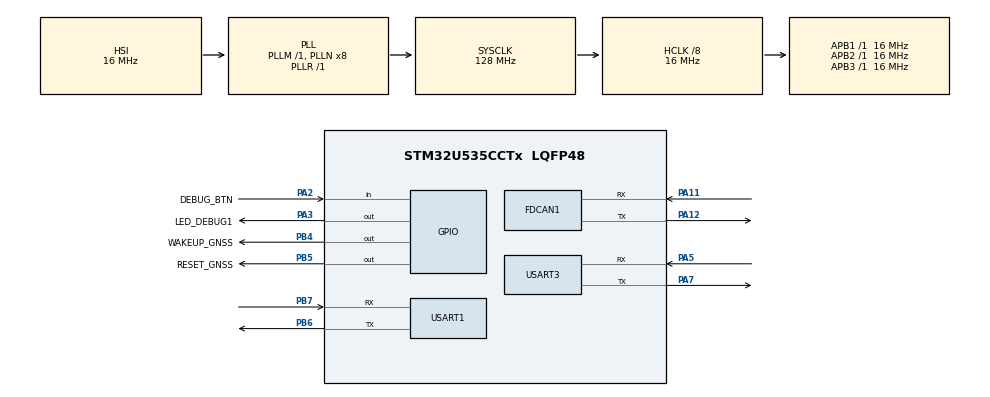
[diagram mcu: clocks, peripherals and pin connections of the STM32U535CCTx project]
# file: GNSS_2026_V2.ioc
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CORTEX_M33_NS.userName=CORTEX_M33
FDCAN1.AutoRetransmission=ENABLE
FDCAN1.CalculateBaudRateNominal=500000
FDCAN1.CalculateTimeBitNominal=2000
FDCAN1.CalculateTimeQuantumNominal=125.0
FDCAN1.NominalPrescaler=8
FDCAN1.NominalTimeSeg1=13
FDCAN1.NominalTimeSeg2=2
FDCAN1.StdFiltersNbr=1
Mcu.Family=STM32U5
Mcu.Name=STM32U535CCTx
Mcu.Package=LQFP48
NVIC.FDCAN1_IT0_IRQn=true\:0\:0\:false\:false\:true\:true\:true\:true
NVIC.FDCAN1_IT1_IRQn=true\:0\:0\:false\:false\:true\:true\:true\:true
NVIC.PriorityGroup=NVIC_PRIORITYGROUP_4
NVIC.TIM3_IRQn=true\:0\:0\:false\:false\:true\:true\:true\:true
NVIC.TIM6_IRQn=true\:0\:0\:false\:false\:true\:true\:true\:true
NVIC.USART1_IRQn=true\:0\:0\:false\:false\:true\:true\:true\:true
PA11.Mode=FDCAN_Activate
PA11.Signal=FDCAN1_RX
PA12.Mode=FDCAN_Activate
PA12.Signal=FDCAN1_TX
PA13\ (JTMS/SWDIO).Mode=Serial_Wire
PA13\ (JTMS/SWDIO).Signal=DEBUG_JTMS-SWDIO
PA14\ (JTCK/SWCLK).Mode=Serial_Wire
PA14\ (JTCK/SWCLK).Signal=DEBUG_JTCK-SWCLK
PA2.GPIO_Label=DEBUG_BTN
PA2.Signal=GPIO_Input
PA3.GPIO_Label=LED_DEBUG1
PA3.Signal=GPIO_Output
PA5.Mode=Asynchronous
PA5.Signal=USART3_RX
PA7.Mode=Asynchronous
PA7.Signal=USART3_TX
PB4\ (NJTRST).GPIO_Label=WAKEUP_GNSS
PB4\ (NJTRST).PinState=GPIO_PIN_SET
PB4\ (NJTRST).Signal=GPIO_Output
PB5.GPIO_Label=RESET_GNSS
PB5.PinState=GPIO_PIN_SET
PB5.Signal=GPIO_Output
PB6.Mode=Asynchronous
PB6.Signal=USART1_TX
PB7.Mode=Asynchronous
PB7.Signal=USART1_RX
ProjectManager.HeapSize=0x200
ProjectManager.StackSize=0x400
ProjectManager.TargetToolchain=STM32CubeIDE
RCC.ADCFreq_Value=16000000
RCC.AHBCLKDivider=RCC_SYSCLK_DIV8
RCC.AHBFreq_Value=16000000
RCC.APB1Freq_Value=16000000
RCC.APB1TimFreq_Value=16000000
RCC.APB2Freq_Value=16000000
RCC.APB2TimFreq_Value=16000000
RCC.APB3Freq_Value=16000000
RCC.CortexFreq_Value=16000000
RCC.DACCLockSelectionVirtual=RCC_DAC1CLKSOURCE_LSI
RCC.DACCLockSelectionVirtualString=RCC_DAC1CLKSOURCE_LSI
RCC.EPOD_VALUE=16000000
RCC.HCLKFreq_Value=16000000
RCC.HSE_VALUE=16000000
RCC.HSI48_VALUE=48000000
RCC.HSI_VALUE=16000000
RCC.LSE_VALUE=32768
RCC.LSIDIV_VALUE=32000
RCC.MSI_VALUE=4000000
RCC.PLL1R=1
RCC.PLLN=8
RCC.PLLSourceVirtual=RCC_PLLSOURCE_HSI
RCC.SYSCLKFreq_VALUE=128000000
RCC.SYSCLKSource=RCC_SYSCLKSOURCE_PLLCLK
RCC.USBFreq_Value=48000000
RCC.VCOOutputFreq_Value=128000000
TIM3.PeriodNoDither=1787
TIM3.Prescaler=1787
TIM6.PeriodNoDither=7999
TIM6.Prescaler=3999
USART1.VirtualMode-Asynchronous=VM_ASYNC
USART3.VirtualMode-Asynchronous=VM_ASYNC
VP_ICACHE_VS_ICACHE.Mode=DefaultMode
VP_LPBAMQUEUE_VS_QUEUE.Mode=QUEUEMODE
VP_LPBAM_VS_SIG1.Mode=SmartRun
VP_LPBAM_VS_SIG4.Mode=LPDMA1
VP_MEMORYMAP_VS_MEMORYMAP.Mode=CurAppReg
VP_PWR_VS_SECSignals.Mode=Security/Privilege
VP_TIM3_VS_ClockSourceINT.Mode=Internal
VP_TIM6_VS_ClockSourceINT.Mode=Enable_Timer
board=custom

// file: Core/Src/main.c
/* USER CODE BEGIN Header */
/**
 ******************************************************************************
 * @file           : main.c
 * @brief          : Main program body
 ******************************************************************************
 * @attention
 *
 * Copyright (c) 2026 STMicroelectronics.
 * All rights reserved.
 *
 * This software is licensed under terms that can be found in the LICENSE file
 * in the root directory of this software component.
 * If no LICENSE file comes with this software, it is provided AS-IS.
 *
 ******************************************************************************
 */
/* USER CODE END Header */
#include "main.h"

/* USER CODE BEGIN PD */
#define TX_TIMEOUT 500

#define FDCAN_FILTER_ID1 0x000
#define FDCAN_FILTER_ID2 0x7FF

/* USER CODE END PD */

FDCAN_HandleTypeDef hfdcan1;

TIM_HandleTypeDef htim3;
TIM_HandleTypeDef htim6;

UART_HandleTypeDef huart1;
UART_HandleTypeDef huart3;

/* USER CODE BEGIN PV */
FDCAN_TxHeaderTypeDef TxHeader;
FDCAN_FilterTypeDef sFilterConfig;
uint8_t TxData[8] = { 0 };

void FDCAN_Restart() {
	if (HAL_FDCAN_Stop(&hfdcan1) != HAL_OK) {
	}
	if (HAL_FDCAN_Start(&hfdcan1) != HAL_OK) {
	}
}

HAL_StatusTypeDef FDCAN_SendMessage(uint32_t id, uint8_t *TxData) {
	TxHeader.Identifier = id;
	HAL_StatusTypeDef status = HAL_FDCAN_AddMessageToTxFifoQ(&hfdcan1,
			&TxHeader, TxData);
	if (status != HAL_OK) {
		FDCAN_Restart();
	}
	HAL_Delay(5);
	return status;
}

/* USER CODE END PV */

void SystemClock_Config(void);
static void MX_GPIO_Init(void);
static void MX_FDCAN1_Init(void);
static void MX_ICACHE_Init(void);
static void MX_USART3_UART_Init(void);
static void MX_TIM3_Init(void);
static void MX_TIM6_Init(void);
static void MX_USART1_UART_Init(void);

/* USER CODE BEGIN 0 */
/* USER CODE BEGIN 0 */
uint8_t rx_buff[MAX_NMEA_LEN];

// inicializa a estrutura que salva os dados do gnss
gnss_data_t gnss_data;

// inicializa maquina de estados
system_state_t system_state = STATE_IDLE;

// flags para ISR
uint8_t isTeseoReset = 0;

/* USER CODE END 0 */

int main(void)
{

  /* MCU Configuration--------------------------------------------------------*/

  /* Reset of all peripherals, Initializes the Flash interface and the Systick. */
  HAL_Init();

  /* Configure the system clock */
  SystemClock_Config();

  /* Initialize all configured peripherals */
  MX_GPIO_Init();
  MX_FDCAN1_Init();
  MX_ICACHE_Init();
  MX_USART3_UART_Init();
  MX_TIM3_Init();
  MX_TIM6_Init();
  MX_USART1_UART_Init();
  /* USER CODE BEGIN 2 */
	// set wakeup and reset pins as HIGH
	HAL_GPIO_WritePin(RESET_GNSS_GPIO_Port, RESET_GNSS_Pin, GPIO_PIN_SET);
	HAL_GPIO_WritePin(WAKEUP_GNSS_GPIO_Port, WAKEUP_GNSS_Pin, GPIO_PIN_SET);

	HAL_UART_Receive_IT(&huart1, rx_buff, MAX_NMEA_LEN);
	print_init(&huart3);

//	uint8_t change_baud[MAX_NMEA_LEN] = "$PSTMSETPAR,3102,0xA*12\r\n";
//	uint8_t change_sample_rate[MAX_NMEA_LEN] = "$PSTMSETPAR,1303,0.2*36\r\n";
//	uint8_t save_par[MAX_NMEA_LEN] = "$PSTMSAVEPAR*58\r\n";
//	uint8_t reset[MAX_NMEA_LEN] = "$PSTMSRR*49\r\n";
//	HAL_UART_Transmit(&huart1, change_sample_rate, MAX_NMEA_LEN, 1000);
//	HAL_UART_Transmit(&huart1, save_par, MAX_NMEA_LEN, 1000);
//	HAL_UART_Transmit(&huart1, reset, MAX_NMEA_LEN, 1000);

//	HAL_UART_Transmit(&huart1, change_baud, MAX_NMEA_LEN, 1000);
//	HAL_UART_Transmit(&huart1, save_par, MAX_NMEA_LEN, 1000);
//	HAL_UART_Transmit(&huart1, reset, MAX_NMEA_LEN, 1000);

  /* USER CODE END 2 */

  /* Infinite loop */
  /* USER CODE BEGIN WHILE */
	HAL_TIM_Base_Start_IT(&htim3);
	HAL_TIM_Base_Start_IT(&htim6);
	int counter = 0;

	init(&gnss_data);

	while (1) {
		counter++;

		if(isTeseoReset == 1) {
			HAL_Delay(50);
			HAL_GPIO_WritePin(RESET_GNSS_GPIO_Port, RESET_GNSS_Pin, GPIO_PIN_SET);
			isTeseoReset = 0;
		}

		switch (system_state) {

		case STATE_RECEIVE_UART: {
//			print_message(rx_buff);
//			print_message("Started \r\n");

			// novos dados chegaram no DMA
			// identifica os inicios e fins das mensagens
			const uint8_t MAX_NUMBER_OF_SENTENCES = 20;
			int16_t list_of_start_idxs[MAX_NUMBER_OF_SENTENCES];
			int16_t list_of_end_idxs[MAX_NUMBER_OF_SENTENCES];

			// inicializa com -1
			for (int k = 0; k < MAX_NUMBER_OF_SENTENCES; ++k) {
				list_of_start_idxs[k] = -1;
				list_of_end_idxs[k] = -1;
			}

			// varre o buffer inteiro e vai salvandos os inicios e fins
			uint8_t sentence_idx = 0;
			for (int k = 0; k < MAX_NMEA_LEN; ++k) {
				if (sentence_idx >= MAX_NUMBER_OF_SENTENCES) {
					break;
				}

				if (rx_buff[k] == '$') {
					list_of_start_idxs[sentence_idx] = k;
					sentence_idx++;
				}

				if (rx_buff[k] == '\n' && sentence_idx > 0
						&& list_of_start_idxs[sentence_idx - 1] != -1) {
					// so pega o final se comecou a sentenca antes
					list_of_end_idxs[sentence_idx - 1] = k;
				}
			}

//			print_message("inicios e fins salvos \r\n");

			// verifica se esta igual o numero de start e end
			uint8_t checked_started = 0, checked_end = 0;
			for (int k = 0; k < MAX_NUMBER_OF_SENTENCES; ++k) {
				if (list_of_start_idxs[k] != -1) {
					checked_started++;
				}
				if (list_of_end_idxs[k] != -1) {
					checked_end++;
				}
			}

			if (checked_started < checked_end) {
				// falha na separação das sentenças. break na FSM e descarta esse buffer
				change_state(&system_state, STATE_IDLE);
				break;
			}

			checked_started = checked_end; // ignora as que comecou sem terminar

//			print_message("start %u == end %u \r\n", checked_started, checked_end);

			if (checked_started == 0 || checked_end == 0) {
				// sem sentencas NMEA. descarta
				change_state(&system_state, STATE_IDLE);
				break;
			}

//			print_message("sentenças separadas \r\n");

			// para cada sentenca, parseia
			for (int k = 0; k < checked_started; ++k) {
				int16_t start_idx = list_of_start_idxs[k];
				int16_t end_idx = list_of_end_idxs[k];

				if (start_idx >= end_idx) {
					// vai para a proxima sentenca, ignora essa
					continue;
				}

				if (start_idx >= MAX_NMEA_LEN || end_idx >= MAX_NMEA_LEN) {
					// vai para a proxima sentenca, ignora essa
					continue;
				}

				// index de inicio e fim determinados. salva no nmea_sentence
				uint8_t sentence_size = end_idx - start_idx + 1; // inclui o \n
				char *nmea_sentence = (char*) malloc(
						sentence_size * sizeof(char));

				int16_t nmea_sentence_idx = 0;
				for (int16_t k = start_idx; k <= end_idx; ++k) {
					nmea_sentence[nmea_sentence_idx] = rx_buff[k];
					nmea_sentence_idx++;
				}

				// nmea_sentence agora contem uma sentença nmea. joga para os parsers
				NMEA_Type nmea_type = NMEA_UNKNOWN;

				if (classify_nmea(&nmea_type, nmea_sentence) != NO_ERROR) {
					continue; // falha na classificacao: vai para a proxima
				}

				switch (nmea_type) {
				case NMEA_GPGGA: {
					if (parse_gpgga(&gnss_data, nmea_sentence) != NO_ERROR) {
						continue; // falha no parse: vai para a proxima
					}
					break;
				}

				case NMEA_GPRMC: {
					if (parse_gprmc(&gnss_data, nmea_sentence) != NO_ERROR) {
						continue; // falha no parse: vai para a proxima
					}
					break;
				}
				case NMEA_UNKNOWN:
					break;
				}

				free(nmea_sentence);
				nmea_sentence = NULL;
			}

			// finalizei o parse do buffer
			change_state(&system_state, STATE_IDLE);

//			print_message("Finished \r\n");
			break;

		}

		case STATE_SEND_UART: {
			// timer disparou: faz o envio
			char uart_output_message[MAX_NMEA_LEN] = { '\0' };
			if (save_to_message(&gnss_data, uart_output_message, MAX_NMEA_LEN)
					!= NO_ERROR) {
				continue; // messaging failed
			}

			print_message(uart_output_message);
//
//			print_message(rx_buff);

			// formata os dados para a CAN
			uint8_t lat_buf[8];
			save_lat_to_buffer(&gnss_data, lat_buf);

			uint8_t lon_buf[8];
			save_lon_to_buffer(&gnss_data, lon_buf);

			uint8_t utc_buf[8]; // gets unix timestamp in miliseconds
			save_utc_to_buffer(&gnss_data, utc_buf);

			uint8_t general_buf[8];
			save_general_to_buffer(&gnss_data, general_buf);

			// envia para a CAN
			FDCAN_SendMessage(LATITUDE_CAN_ID, lat_buf);
			FDCAN_SendMessage(LONGITUDE_CAN_ID, lon_buf);
			FDCAN_SendMessage(UTC_CAN_ID, utc_buf);
			FDCAN_SendMessage(GENERAL_GNSS_CAN_ID, general_buf);

			change_state(&system_state, STATE_IDLE);

			break;
		}
		case STATE_IDLE:
		default: {
			break;
		}
		}
//		for (uint8_t k = 1; k < 60; ++k) {
//			uint8_t can_tx_data[8] = { k, k, k, k, k, k, k, k };
//			FDCAN_SendMessage(262, can_tx_data);
//			HAL_Delay(5);
//		}
//
//		HAL_Delay(5);
    /* USER CODE END WHILE */

	}
}

void SystemClock_Config(void)
{
  RCC_OscInitTypeDef RCC_OscInitStruct = {0};
  RCC_ClkInitTypeDef RCC_ClkInitStruct = {0};

  /** Configure the main internal regulator output voltage
  */
  if (HAL_PWREx_ControlVoltageScaling(PWR_REGULATOR_VOLTAGE_SCALE1) != HAL_OK)
  {
    Error_Handler();
  }

  /** Initializes the CPU, AHB and APB buses clocks
  */
  RCC_OscInitStruct.OscillatorType = RCC_OSCILLATORTYPE_HSI;
  RCC_OscInitStruct.HSIState = RCC_HSI_ON;
  RCC_OscInitStruct.HSICalibrationValue = RCC_HSICALIBRATION_DEFAULT;
  RCC_OscInitStruct.PLL.PLLState = RCC_PLL_ON;
  RCC_OscInitStruct.PLL.PLLSource = RCC_PLLSOURCE_HSI;
  RCC_OscInitStruct.PLL.PLLMBOOST = RCC_PLLMBOOST_DIV1;
  RCC_OscInitStruct.PLL.PLLM = 1;
  RCC_OscInitStruct.PLL.PLLN = 8;
  RCC_OscInitStruct.PLL.PLLP = 2;
  RCC_OscInitStruct.PLL.PLLQ = 2;
  RCC_OscInitStruct.PLL.PLLR = 1;
  RCC_OscInitStruct.PLL.PLLRGE = RCC_PLLVCIRANGE_1;
  RCC_OscInitStruct.PLL.PLLFRACN = 0;
  if (HAL_RCC_OscConfig(&RCC_OscInitStruct) != HAL_OK)
  {
    Error_Handler();
  }

  /** Initializes the CPU, AHB and APB buses clocks
  */
  RCC_ClkInitStruct.ClockType = RCC_CLOCKTYPE_HCLK|RCC_CLOCKTYPE_SYSCLK
                              |RCC_CLOCKTYPE_PCLK1|RCC_CLOCKTYPE_PCLK2
                              |RCC_CLOCKTYPE_PCLK3;
  RCC_ClkInitStruct.SYSCLKSource = RCC_SYSCLKSOURCE_PLLCLK;
  RCC_ClkInitStruct.AHBCLKDivider = RCC_SYSCLK_DIV8;
  RCC_ClkInitStruct.APB1CLKDivider = RCC_HCLK_DIV1;
  RCC_ClkInitStruct.APB2CLKDivider = RCC_HCLK_DIV1;
  RCC_ClkInitStruct.APB3CLKDivider = RCC_HCLK_DIV1;

  if (HAL_RCC_ClockConfig(&RCC_ClkInitStruct, FLASH_LATENCY_0) != HAL_OK)
  {
    Error_Handler();
  }
}

static void MX_FDCAN1_Init(void)
{

  hfdcan1.Instance = FDCAN1;
  hfdcan1.Init.ClockDivider = FDCAN_CLOCK_DIV1;
  hfdcan1.Init.FrameFormat = FDCAN_FRAME_CLASSIC;
  hfdcan1.Init.Mode = FDCAN_MODE_NORMAL;
  hfdcan1.Init.AutoRetransmission = ENABLE;
  hfdcan1.Init.TransmitPause = DISABLE;
  hfdcan1.Init.ProtocolException = DISABLE;
  hfdcan1.Init.NominalPrescaler = 8;
  hfdcan1.Init.NominalSyncJumpWidth = 1;
  hfdcan1.Init.NominalTimeSeg1 = 13;
  hfdcan1.Init.NominalTimeSeg2 = 2;
  hfdcan1.Init.DataPrescaler = 1;
  hfdcan1.Init.DataSyncJumpWidth = 1;
  hfdcan1.Init.DataTimeSeg1 = 1;
  hfdcan1.Init.DataTimeSeg2 = 1;
  hfdcan1.Init.StdFiltersNbr = 1;
  hfdcan1.Init.ExtFiltersNbr = 0;
  hfdcan1.Init.TxFifoQueueMode = FDCAN_TX_FIFO_OPERATION;
  if (HAL_FDCAN_Init(&hfdcan1) != HAL_OK)
  {
    Error_Handler();
  }
  /* USER CODE BEGIN FDCAN1_Init 2 */
	sFilterConfig.IdType = FDCAN_STANDARD_ID;
	sFilterConfig.FilterIndex = 0;
	sFilterConfig.FilterType = FDCAN_FILTER_MASK;
	sFilterConfig.FilterConfig = FDCAN_FILTER_TO_RXFIFO0;
	sFilterConfig.FilterID1 = FDCAN_FILTER_ID1;
	sFilterConfig.FilterID2 = FDCAN_FILTER_ID2;

	if (HAL_FDCAN_ConfigFilter(&hfdcan1, &sFilterConfig) != HAL_OK) {
		Error_Handler();
	}

	if (HAL_FDCAN_ActivateNotification(&hfdcan1, FDCAN_IT_RX_FIFO0_NEW_MESSAGE,
			0) != HAL_OK) {
		Error_Handler();
	}

	if (HAL_FDCAN_Start(&hfdcan1) != HAL_OK) {
		Error_Handler();
	}

	HAL_NVIC_SetPriority(FDCAN1_IT0_IRQn, 0, 0);
	HAL_NVIC_EnableIRQ(FDCAN1_IT0_IRQn);
	HAL_NVIC_SetPriority(FDCAN1_IT1_IRQn, 0, 0);
	HAL_NVIC_EnableIRQ(FDCAN1_IT1_IRQn);

	TxHeader.Identifier = 0x000;
	TxHeader.IdType = FDCAN_STANDARD_ID;
	TxHeader.TxFrameType = FDCAN_DATA_FRAME;
	TxHeader.DataLength = FDCAN_DLC_BYTES_8;
	TxHeader.ErrorStateIndicator = FDCAN_ESI_ACTIVE;
	TxHeader.BitRateSwitch = FDCAN_BRS_OFF;
	TxHeader.FDFormat = FDCAN_CLASSIC_CAN;
	TxHeader.TxEventFifoControl = FDCAN_NO_TX_EVENTS;
	TxHeader.MessageMarker = 0;

  /* USER CODE END FDCAN1_Init 2 */

}

static void MX_ICACHE_Init(void)
{

  /** Enable instruction cache (default 2-ways set associative cache)
  */
  if (HAL_ICACHE_Enable() != HAL_OK)
  {
    Error_Handler();
  }

}

static void MX_TIM3_Init(void)
{

  TIM_ClockConfigTypeDef sClockSourceConfig = {0};
  TIM_MasterConfigTypeDef sMasterConfig = {0};

  htim3.Instance = TIM3;
  htim3.Init.Prescaler = 1787;
  htim3.Init.CounterMode = TIM_COUNTERMODE_UP;
  htim3.Init.Period = 1787;
  htim3.Init.ClockDivision = TIM_CLOCKDIVISION_DIV1;
  htim3.Init.AutoReloadPreload = TIM_AUTORELOAD_PRELOAD_DISABLE;
  if (HAL_TIM_Base_Init(&htim3) != HAL_OK)
  {
    Error_Handler();
  }
  sClockSourceConfig.ClockSource = TIM_CLOCKSOURCE_INTERNAL;
  if (HAL_TIM_ConfigClockSource(&htim3, &sClockSourceConfig) != HAL_OK)
  {
    Error_Handler();
  }
  sMasterConfig.MasterOutputTrigger = TIM_TRGO_RESET;
  sMasterConfig.MasterSlaveMode = TIM_MASTERSLAVEMODE_DISABLE;
  if (HAL_TIMEx_MasterConfigSynchronization(&htim3, &sMasterConfig) != HAL_OK)
  {
    Error_Handler();
  }

}

static void MX_TIM6_Init(void)
{

  TIM_MasterConfigTypeDef sMasterConfig = {0};

  htim6.Instance = TIM6;
  htim6.Init.Prescaler = 3999;
  htim6.Init.CounterMode = TIM_COUNTERMODE_UP;
  htim6.Init.Period = 7999;
  htim6.Init.AutoReloadPreload = TIM_AUTORELOAD_PRELOAD_DISABLE;
  if (HAL_TIM_Base_Init(&htim6) != HAL_OK)
  {
    Error_Handler();
  }
  sMasterConfig.MasterOutputTrigger = TIM_TRGO_RESET;
  sMasterConfig.MasterSlaveMode = TIM_MASTERSLAVEMODE_DISABLE;
  if (HAL_TIMEx_MasterConfigSynchronization(&htim6, &sMasterConfig) != HAL_OK)
  {
    Error_Handler();
  }

}

static void MX_USART1_UART_Init(void)
{

  huart1.Instance = USART1;
  huart1.Init.BaudRate = 115200;
  huart1.Init.WordLength = UART_WORDLENGTH_8B;
  huart1.Init.StopBits = UART_STOPBITS_1;
  huart1.Init.Parity = UART_PARITY_NONE;
  huart1.Init.Mode = UART_MODE_TX_RX;
  huart1.Init.HwFlowCtl = UART_HWCONTROL_NONE;
  huart1.Init.OverSampling = UART_OVERSAMPLING_16;
  huart1.Init.OneBitSampling = UART_ONE_BIT_SAMPLE_DISABLE;
  huart1.Init.ClockPrescaler = UART_PRESCALER_DIV1;
  huart1.AdvancedInit.AdvFeatureInit = UART_ADVFEATURE_NO_INIT;
  if (HAL_UART_Init(&huart1) != HAL_OK)
  {
    Error_Handler();
  }
  if (HAL_UARTEx_SetTxFifoThreshold(&huart1, UART_TXFIFO_THRESHOLD_1_8) != HAL_OK)
  {
    Error_Handler();
  }
  if (HAL_UARTEx_SetRxFifoThreshold(&huart1, UART_RXFIFO_THRESHOLD_1_8) != HAL_OK)
  {
    Error_Handler();
  }
  if (HAL_UARTEx_DisableFifoMode(&huart1) != HAL_OK)
  {
    Error_Handler();
  }

}

static void MX_USART3_UART_Init(void)
{

  huart3.Instance = USART3;
  huart3.Init.BaudRate = 115200;
  huart3.Init.WordLength = UART_WORDLENGTH_8B;
  huart3.Init.StopBits = UART_STOPBITS_1;
  huart3.Init.Parity = UART_PARITY_NONE;
  huart3.Init.Mode = UART_MODE_TX_RX;
  huart3.Init.HwFlowCtl = UART_HWCONTROL_NONE;
  huart3.Init.OverSampling = UART_OVERSAMPLING_16;
  huart3.Init.OneBitSampling = UART_ONE_BIT_SAMPLE_DISABLE;
  huart3.Init.ClockPrescaler = UART_PRESCALER_DIV1;
  huart3.AdvancedInit.AdvFeatureInit = UART_ADVFEATURE_NO_INIT;
  if (HAL_UART_Init(&huart3) != HAL_OK)
  {
    Error_Handler();
  }
  if (HAL_UARTEx_SetTxFifoThreshold(&huart3, UART_TXFIFO_THRESHOLD_1_8) != HAL_OK)
  {
    Error_Handler();
  }
  if (HAL_UARTEx_SetRxFifoThreshold(&huart3, UART_RXFIFO_THRESHOLD_1_8) != HAL_OK)
  {
    Error_Handler();
  }
  if (HAL_UARTEx_DisableFifoMode(&huart3) != HAL_OK)
  {
    Error_Handler();
  }

}

static void MX_GPIO_Init(void)
{
  GPIO_InitTypeDef GPIO_InitStruct = {0};

  /* GPIO Ports Clock Enable */
  __HAL_RCC_GPIOA_CLK_ENABLE();
  __HAL_RCC_GPIOB_CLK_ENABLE();

  /*Configure GPIO pin Output Level */
  HAL_GPIO_WritePin(LED_DEBUG1_GPIO_Port, LED_DEBUG1_Pin, GPIO_PIN_RESET);

  /*Configure GPIO pin Output Level */
  HAL_GPIO_WritePin(GPIOB, WAKEUP_GNSS_Pin|RESET_GNSS_Pin, GPIO_PIN_SET);

  /*Configure GPIO pin : DEBUG_BTN_Pin */
  GPIO_InitStruct.Pin = DEBUG_BTN_Pin;
  GPIO_InitStruct.Mode = GPIO_MODE_INPUT;
  GPIO_InitStruct.Pull = GPIO_NOPULL;
  HAL_GPIO_Init(DEBUG_BTN_GPIO_Port, &GPIO_InitStruct);

  /*Configure GPIO pin : LED_DEBUG1_Pin */
  GPIO_InitStruct.Pin = LED_DEBUG1_Pin;
  GPIO_InitStruct.Mode = GPIO_MODE_OUTPUT_PP;
  GPIO_InitStruct.Pull = GPIO_NOPULL;
  GPIO_InitStruct.Speed = GPIO_SPEED_FREQ_LOW;
  HAL_GPIO_Init(LED_DEBUG1_GPIO_Port, &GPIO_InitStruct);

  /*Configure GPIO pins : WAKEUP_GNSS_Pin RESET_GNSS_Pin */
  GPIO_InitStruct.Pin = WAKEUP_GNSS_Pin|RESET_GNSS_Pin;
  GPIO_InitStruct.Mode = GPIO_MODE_OUTPUT_PP;
  GPIO_InitStruct.Pull = GPIO_NOPULL;
  GPIO_InitStruct.Speed = GPIO_SPEED_FREQ_LOW;
  HAL_GPIO_Init(GPIOB, &GPIO_InitStruct);

}

/* USER CODE BEGIN 4 */
void HAL_UART_RxCpltCallback(UART_HandleTypeDef *huart) {
//	uint16_t sz = Size;
//  HAL_UARTEx_ReceiveToIdle_IT(&huart1, rx_buff, MAX_NMEA_LEN);

	if (huart->Instance == USART1) {
		// Size = number of received bytes before IDLE
		change_state(&system_state, STATE_RECEIVE_UART);

		// Restart reception
		HAL_UART_Receive_IT(&huart1, rx_buff, MAX_NMEA_LEN);

		// blink LED
		HAL_GPIO_TogglePin(LED_DEBUG1_GPIO_Port, LED_DEBUG1_Pin);

		// reset the watchdog timer
		TIM6->CNT = 0;
	}
}

void HAL_TIM_PeriodElapsedCallback(TIM_HandleTypeDef *htim) {
	if (htim->Instance == TIM3) {
		change_state(&system_state, STATE_SEND_UART);
	}

	if (htim->Instance == TIM6) {
		// watchdog timer: reset the UART communication
		HAL_UART_Receive_IT(&huart1, rx_buff, MAX_NMEA_LEN);

		// reset TESEO too
		HAL_GPIO_WritePin(RESET_GNSS_GPIO_Port, RESET_GNSS_Pin, GPIO_PIN_RESET);
		isTeseoReset = 1;

		TIM6->CNT = 0;
	}
}

/* USER CODE END 4 */

void Error_Handler(void)
{
	__disable_irq();
	while (1) {
	}
}
